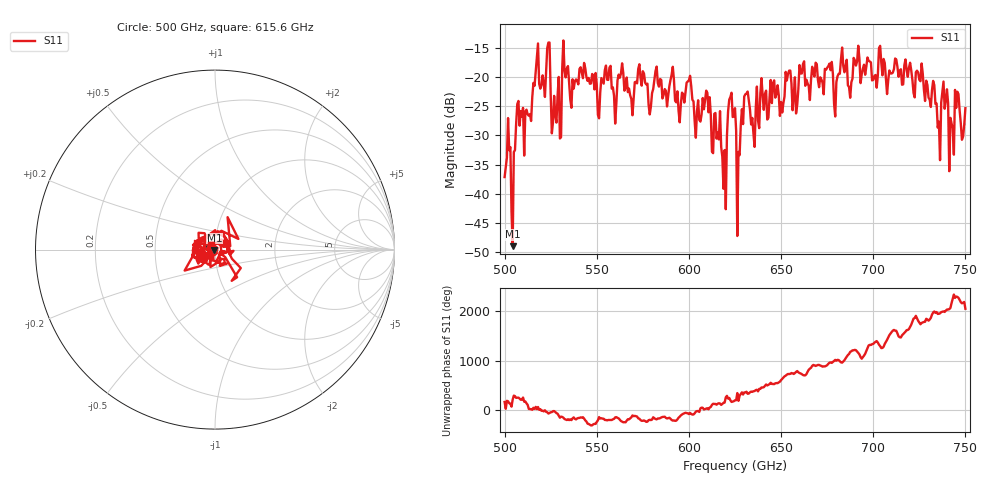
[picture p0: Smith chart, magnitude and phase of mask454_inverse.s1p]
!Created with skrf (http://scikit-rf.org).
# GHz S MA R 50.0
!freq magS11 angS11
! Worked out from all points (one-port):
!   401 points, 500 GHz to 750 GHz, reference 50 ohm
!   lowest |S11| = -49.0 dB at 504.4 GHz (marker M1), VSWR 1.01, Z = 49.7 - j0.213 ohm
!   |S11| at or under -10 dB: start of sweep to end of sweep
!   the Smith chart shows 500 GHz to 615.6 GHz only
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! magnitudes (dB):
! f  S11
! 500 GHz  -37.1
! 501.9 GHz  -27.0
! 504.4 GHz  -49.0
! 507.5 GHz  -24.1
! 513.8 GHz  -26.3
! 516.9 GHz  -19.1
! 523.8 GHz  -14.1
! 526.9 GHz  -23.2
! 531.2 GHz  -18.5
! 533.1 GHz  -20.1
! 562.5 GHz  -20.1
! 593.8 GHz  -22.5
! 610 GHz  -22.7
! 618.8 GHz  -39.1
! 622.5 GHz  -23.4
! 625 GHz  -25.3
! 627.5 GHz  -33.4
! 631.2 GHz  -22.8
! 635 GHz  -29.6
! 656.2 GHz  -25.7
! 687.5 GHz  -23.6
! 690.6 GHz  -18.0
! 718.8 GHz  -20.0
! 735 GHz  -28.7
! 738.8 GHz  -25.4
! 742.5 GHz  -28.0
! 745.6 GHz  -22.5
! 750 GHz  -25.3
